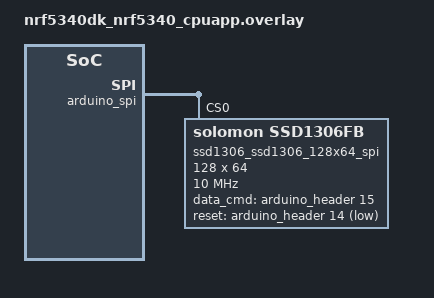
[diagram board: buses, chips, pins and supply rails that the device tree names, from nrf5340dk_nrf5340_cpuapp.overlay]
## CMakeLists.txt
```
# SPDX-License-Identifier: Apache-2.0

cmake_minimum_required(VERSION 3.20.0)

set(SHIELD ssd1306_128x64_spi)

find_package(Zephyr REQUIRED HINTS $ENV{ZEPHYR_BASE})
project(nrf53_ssd1306_spi)

FILE(GLOB app_sources src/*.c)
target_sources(app PRIVATE ${app_sources})
```

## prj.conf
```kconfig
CONFIG_LV_Z_MEM_POOL_NUMBER_BLOCKS=8
CONFIG_MAIN_STACK_SIZE=2048

CONFIG_DISPLAY=y
CONFIG_DISPLAY_LOG_LEVEL_ERR=y

CONFIG_LOG=y

CONFIG_LVGL=y
CONFIG_LV_MEM_CUSTOM=y
CONFIG_LV_USE_LOG=y
CONFIG_LV_USE_LABEL=y
CONFIG_LV_USE_BTN=y
CONFIG_LV_USE_IMG=y
CONFIG_LV_FONT_MONTSERRAT_14=y

CONFIG_SPI=y
```

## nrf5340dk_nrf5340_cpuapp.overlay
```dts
// To get started, press Ctrl+Space (or Option+Esc) to bring up the completion menu and view the available nodes.

// You can also use the buttons in the sidebar to perform actions on nodes.
// Actions currently available include:

// * Enabling / disabling the node
// * Adding the bus to a bus
// * Removing the node
// * Connecting ADC channels

// For more help, browse the DeviceTree documentation at https://docs.zephyrproject.org/latest/guides/dts/index.html
// You can also visit the nRF DeviceTree extension documentation at https://nrfconnect.github.io/vscode-nrf-connect/devicetree/nrfdevicetree.html

///////////////////////// default SPI configuration for SSD1306 OLED //////////////////////////
// arduino_spi: &spi4 {
// 	compatible = "nordic,nrf-spim";
// 	status = "okay";
// };

///////////////////////// SPI configuration for SSD1306 OLED //////////////////////////

/ {
	chosen {
		zephyr,display = &ssd1306_ssd1306_128x64_spi;
	};
};

&pinctrl {
    spi4_default: spi4_default {
		group1 {
			psels = <NRF_PSEL(SPIM_SCK, 1, 15)>,
				<NRF_PSEL(SPIM_MOSI, 1, 13)>;
		};
	};

	spi4_sleep: spi4_sleep {
		group1 {
			psels = <NRF_PSEL(SPIM_SCK, 1, 15)>,
				<NRF_PSEL(SPIM_MOSI, 1, 13)>;
			low-power-enable;
		};
	};

};

&arduino_spi {
    compatible = "nordic,nrf-spim";
	status = "okay";

	ssd1306_ssd1306_128x64_spi: ssd1306@0 {
		compatible = "solomon,ssd1306fb";
		reg = <0x0>;
		spi-max-frequency = <10000000>;
		width = <128>;
		height = <64>;
		segment-offset = <0>;
		page-offset = <0>;
		display-offset = <0>;
		multiplex-ratio = <63>;
		segment-remap;
		com-invdir;
		prechargep = <0x22>;
		data_cmd-gpios = <&arduino_header 15 0>; // D9
		reset-gpios = <&arduino_header 14 GPIO_ACTIVE_LOW>; // D8
	};
};
```

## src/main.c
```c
/*
 * Copyright (c) 2018 Jan Van Winkel <jan.van_winkel@dxplore.eu>
 *
 * SPDX-License-Identifier: Apache-2.0
 */

#include <zephyr/device.h>
#include <zephyr/devicetree.h>
#include <zephyr/drivers/display.h>
#include <zephyr/drivers/gpio.h>
#include <lvgl.h>
#include <stdio.h>
#include <string.h>
#include <zephyr/kernel.h>

#define LOG_LEVEL CONFIG_LOG_DEFAULT_LEVEL
#include <zephyr/logging/log.h>
LOG_MODULE_REGISTER(app);

static uint32_t count;

#ifdef CONFIG_GPIO
static struct gpio_dt_spec button_gpio = GPIO_DT_SPEC_GET_OR(
		DT_ALIAS(sw0), gpios, {0});
static struct gpio_callback button_callback;

static void button_isr_callback(const struct device *port,
				struct gpio_callback *cb,
				uint32_t pins)
{
	ARG_UNUSED(port);
	ARG_UNUSED(cb);
	ARG_UNUSED(pins);

	count = 0;
}
#endif

int main(void)
{
	int err;
	char count_str[11] = {0};
	const struct device *display_dev;
	lv_obj_t *hello_world_label;
	lv_obj_t *count_label;

	display_dev = DEVICE_DT_GET(DT_CHOSEN(zephyr_display));
	if (!device_is_ready(display_dev)) {
		LOG_ERR("Device not ready, aborting test");
		return 0;
	}

#ifdef CONFIG_GPIO
	if (device_is_ready(button_gpio.port)) {
		err = gpio_pin_configure_dt(&button_gpio, GPIO_INPUT);
		if (err) {
			LOG_ERR("failed to configure button gpio: %d", err);
			return 0;
		}

		gpio_init_callback(&button_callback, button_isr_callback,
				   BIT(button_gpio.pin));

		err = gpio_add_callback(button_gpio.port, &button_callback);
		if (err) {
			LOG_ERR("failed to add button callback: %d", err);
			return 0;
		}

		err = gpio_pin_interrupt_configure_dt(&button_gpio,
						      GPIO_INT_EDGE_TO_ACTIVE);
		if (err) {
			LOG_ERR("failed to enable button callback: %d", err);
			return 0;
		}
	}
#endif

	if (IS_ENABLED(CONFIG_LV_Z_POINTER_KSCAN)) {
		lv_obj_t *hello_world_button;

		hello_world_button = lv_btn_create(lv_scr_act());
		lv_obj_align(hello_world_button, LV_ALIGN_CENTER, 0, 0);
		hello_world_label = lv_label_create(hello_world_button);
	} else {
		hello_world_label = lv_label_create(lv_scr_act());
	}

	lv_label_set_text(hello_world_label, "Hello World!");
	lv_obj_align(hello_world_label, LV_ALIGN_CENTER, 0, 0);

	count_label = lv_label_create(lv_scr_act());
	lv_obj_align(count_label, LV_ALIGN_BOTTOM_MID, 0, 0);

	lv_task_handler();
	display_blanking_off(display_dev);

	while (1) {
		if ((count % 100) == 0U) {
			sprintf(count_str, "%d", count/100U);
			lv_label_set_text(count_label, count_str);
		}
		lv_task_handler();
		++count;
		k_sleep(K_MSEC(10));
	}
}
```
